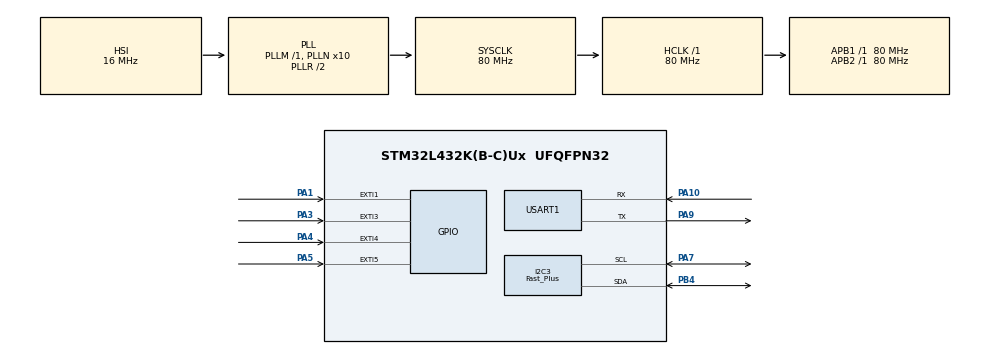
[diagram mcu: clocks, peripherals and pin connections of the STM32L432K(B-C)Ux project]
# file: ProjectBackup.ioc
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I2C3.I2C_Speed_Mode=I2C_Fast_Plus
I2C3.Timing=0x00B10E24
Mcu.Family=STM32L4
Mcu.Name=STM32L432K(B-C)Ux
Mcu.Package=UFQFPN32
NVIC.EXTI1_IRQn=true\:1\:0\:true\:false\:true\:true\:true\:true
NVIC.EXTI3_IRQn=true\:1\:0\:true\:false\:true\:true\:true\:true
NVIC.EXTI4_IRQn=true\:1\:0\:true\:false\:true\:true\:true\:true
NVIC.EXTI9_5_IRQn=true\:1\:0\:true\:false\:true\:true\:true\:true
NVIC.I2C3_ER_IRQn=true\:0\:0\:false\:false\:true\:true\:true\:true
NVIC.I2C3_EV_IRQn=true\:0\:0\:false\:false\:true\:true\:true\:true
NVIC.PriorityGroup=NVIC_PRIORITYGROUP_4
NVIC.RCC_IRQn=true\:0\:0\:false\:false\:true\:true\:false\:true
NVIC.RTC_Alarm_IRQn=true\:0\:0\:true\:false\:true\:true\:true\:true
NVIC.USART1_IRQn=true\:0\:0\:false\:false\:true\:true\:true\:true
PA0.Mode=HSE-External-Clock-Source-for-LittleOrca
PA0.Signal=RCC_CK_IN
PA1.GPIO_PuPd=GPIO_PULLDOWN
PA1.Signal=GPXTI1
PA10.Mode=Asynchronous
PA10.Signal=USART1_RX
PA13\ (JTMS-SWDIO).Mode=Serial_Wire
PA13\ (JTMS-SWDIO).Signal=SYS_JTMS-SWDIO
PA14\ (JTCK-SWCLK).Mode=Serial_Wire
PA14\ (JTCK-SWCLK).Signal=SYS_JTCK-SWCLK
PA3.GPIO_PuPd=GPIO_PULLDOWN
PA3.Signal=GPXTI3
PA4.GPIO_PuPd=GPIO_PULLDOWN
PA4.Signal=GPXTI4
PA5.GPIO_PuPd=GPIO_PULLDOWN
PA5.Signal=GPXTI5
PA7.Mode=I2C
PA7.Signal=I2C3_SCL
PA9.Mode=Asynchronous
PA9.Signal=USART1_TX
PB4\ (NJTRST).Mode=I2C
PB4\ (NJTRST).Signal=I2C3_SDA
PC14-OSC32_IN\ (PC14).Mode=LSE-External-Oscillator
PC14-OSC32_IN\ (PC14).Signal=RCC_OSC32_IN
PC15-OSC32_OUT\ (PC15).Mode=LSE-External-Oscillator
PC15-OSC32_OUT\ (PC15).Signal=RCC_OSC32_OUT
ProjectManager.HeapSize=0x800
ProjectManager.StackSize=0x800
ProjectManager.TargetToolchain=MDK-ARM V5.32
RCC.ADCFreq_Value=64000000
RCC.AHBFreq_Value=80000000
RCC.APB1Freq_Value=80000000
RCC.APB1TimFreq_Value=80000000
RCC.APB2Freq_Value=80000000
RCC.APB2TimFreq_Value=80000000
RCC.CortexFreq_Value=80000000
RCC.HCLKFreq_Value=80000000
RCC.HSE_VALUE=8000000
RCC.HSI48_VALUE=48000000
RCC.HSI_VALUE=16000000
RCC.MSI_VALUE=4000000
RCC.PLLN=10
RCC.PLLSourceVirtual=RCC_PLLSOURCE_HSI
RCC.RTCClockSelection=RCC_RTCCLKSOURCE_LSE
RCC.SYSCLKFreq_VALUE=80000000
RCC.SYSCLKSource=RCC_SYSCLKSOURCE_PLLCLK
RCC.USBFreq_Value=64000000
RCC.VCOOutputFreq_Value=160000000
RTC.Alarm=RTC_ALARM_A
RTC.AlarmMaskDateWeekDay=RTC_ALARMMASK_DATEWEEKDAY
RTC.AlarmMaskHours=RTC_ALARMMASK_HOURS
RTC.AlarmMaskMinutes=RTC_ALARMMASK_MINUTES
RTC.Format=RTC_FORMAT_BIN
RTC.Seconds_A=5
USART1.VirtualMode-Asynchronous=VM_ASYNC
VP_RTC_VS_RTC_Activate.Mode=RTC_Enabled
VP_RTC_VS_RTC_Alarm_A_Intern.Mode=Alarm A
VP_RTC_VS_RTC_Calendar.Mode=RTC_Calendar
board=custom

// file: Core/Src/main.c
/* USER CODE BEGIN Header */
/**
  ******************************************************************************
  * @file           : main.c
  * @brief          : Main program body
  ******************************************************************************
  * @attention
  *
  * Copyright (c) 2025 STMicroelectronics.
  * All rights reserved.
  *
  * This software is licensed under terms that can be found in the LICENSE file
  * in the root directory of this software component.
  * If no LICENSE file comes with this software, it is provided AS-IS.
  *
  ******************************************************************************
  */
/* USER CODE END Header */
#include "main.h"
#include "i2c.h"
#include "rtc.h"
#include "usart.h"
#include "gpio.h"

/* USER CODE BEGIN Includes */
#include "astra_ui_core.h"
#include "astra_ui_draw_driver.h"
#include "astra_ui_item.h"
#include "UserItem.h"
#include "stdbool.h"
#include <string.h>
/* USER CODE END Includes */

/* USER CODE BEGIN PV */
uint8_t u8x8_byte_hw_i2c(u8x8_t *u8x8, uint8_t msg, uint8_t arg_int, void *arg_ptr);
uint8_t u8g2_gpio_and_delay_stm32(U8X8_UNUSED u8x8_t *u8x8, U8X8_UNUSED uint8_t msg, U8X8_UNUSED uint8_t arg_int, U8X8_UNUSED void *arg_ptr);
int16_t Hours=0;
int16_t Minutes=0;
int16_t Seconds=0;

char RxBuffer[2048]={0};
uint16_t Uart1_Rx_Cnt=0;
uint8_t aRxBuffer=0;
char my_order[15]={0};
char receive_flag=0;

bool Hour_Setting_Flag=false;
bool Minute_Setting_Flag=false;
bool Second_Setting_Flag=false;

char week1[20]={0};
char date1[20]={0};
char month1[20]={0};
char year1[20]={0};
/* USER CODE END PV */

void SystemClock_Config(void);

int main(void)
{

  /* MCU Configuration--------------------------------------------------------*/

  /* Reset of all peripherals, Initializes the Flash interface and the Systick. */
  HAL_Init();

  /* Configure the system clock */
  SystemClock_Config();

  /* Initialize all configured peripherals */
  MX_GPIO_Init();
  MX_RTC_Init();
  MX_USART1_UART_Init();
  MX_I2C3_Init();
  /* USER CODE BEGIN 2 */
  HAL_UART_Receive_IT(&huart1, (uint8_t *)&aRxBuffer, 1);
  astra_ui_driver_init();
  astra_init_core();
  HAL_Delay(1000);
// ����������б���
astra_list_item_t *item1 = astra_new_list_item("Setting");
astra_list_item_t *item1_1 = astra_new_slider_item("Hours", &Hours, 1, 0, 23);
astra_list_item_t *item1_2 = astra_new_slider_item("Minutes", &Minutes, 1, 0, 59);
astra_list_item_t *item1_3 = astra_new_slider_item("Seconds", &Seconds, 1, 0, 59);
//astra_list_item_t *item1_1 =astra_new_list_item("BeiJing");
//astra_list_item_t *item1_2 = astra_new_list_item("Paris");
//astra_list_item_t *item1_3 =astra_new_list_item("New York");
//HAL_Delay(1000);
astra_list_item_t *item2 = astra_new_list_item("Clock System");
astra_list_item_t *item2_1 = astra_new_list_item("24");
astra_list_item_t *item2_2 =  astra_new_list_item("12");
//astra_list_item_t *item2_3 =  astra_new_list_item("24");
astra_list_item_t *item3 = astra_new_list_item("Count Down");
astra_list_item_t *item3_1 = astra_new_user_item("1 mins",UserItem_Init_2,UserItem_Loop_2,UserItem_Exit_2);
astra_list_item_t *item3_2 = astra_new_user_item("2 mins",UserItem_Init_3,UserItem_Loop_3,UserItem_Exit_3);
astra_list_item_t *item3_3 = astra_new_user_item("5 mins",UserItem_Init_4,UserItem_Loop_4,UserItem_Exit_4);
astra_list_item_t *item3_4 = astra_new_user_item("10 mins",UserItem_Init_5,UserItem_Loop_5,UserItem_Exit_5);
astra_list_item_t *item4 = astra_new_user_item("Clock",UserItem_Init_1,UserItem_Loop_1,UserItem_Exit_1);
astra_list_item_t *item5 = astra_new_user_item("Time Check",UserItem_Init_6,UserItem_Loop_6,UserItem_Exit_6);
astra_list_item_t *item6 = astra_new_user_item("Date",UserItem_Init_7,UserItem_Loop_7,UserItem_Exit_7);
//astra_list_item_t *item2 = astra_new_switch_item("Switch", &switch_value);
astra_push_item_to_list(astra_get_root_list(), item1);
astra_push_item_to_list(item1, item1_1);
astra_push_item_to_list(item1, item1_2);
astra_push_item_to_list(item1, item1_3);
astra_push_item_to_list(astra_get_root_list(), item2);

astra_push_item_to_list(item2, item2_1);
astra_push_item_to_list(item2, item2_2);
astra_push_item_to_list(astra_get_root_list(), item3);
astra_push_item_to_list(item3, item3_1);
astra_push_item_to_list(item3, item3_2);
astra_push_item_to_list(item3, item3_3);
astra_push_item_to_list(item3, item3_4);
astra_push_item_to_list(astra_get_root_list(), item5);
astra_push_item_to_list(astra_get_root_list(), item4);
astra_push_item_to_list(astra_get_root_list(), item6);

  /* USER CODE END 2 */

  /* Infinite loop */
  /* USER CODE BEGIN WHILE */
  while (1)
  {
	  oled_clear_buffer();
	  //in_astra();
		astra_ui_main_core();
		astra_ui_widget_core();
	  oled_send_buffer();
    /* USER CODE END WHILE */

  }
}

void SystemClock_Config(void)
{
  RCC_OscInitTypeDef RCC_OscInitStruct = {0};
  RCC_ClkInitTypeDef RCC_ClkInitStruct = {0};

  /** Configure the main internal regulator output voltage
  */
  if (HAL_PWREx_ControlVoltageScaling(PWR_REGULATOR_VOLTAGE_SCALE1) != HAL_OK)
  {
    Error_Handler();
  }

  /** Configure LSE Drive Capability
  */
  HAL_PWR_EnableBkUpAccess();
  __HAL_RCC_LSEDRIVE_CONFIG(RCC_LSEDRIVE_LOW);

  /** Initializes the RCC Oscillators according to the specified parameters
  * in the RCC_OscInitTypeDef structure.
  */
  RCC_OscInitStruct.OscillatorType = RCC_OSCILLATORTYPE_HSI|RCC_OSCILLATORTYPE_LSE;
  RCC_OscInitStruct.LSEState = RCC_LSE_ON;
  RCC_OscInitStruct.HSIState = RCC_HSI_ON;
  RCC_OscInitStruct.HSICalibrationValue = RCC_HSICALIBRATION_DEFAULT;
  RCC_OscInitStruct.PLL.PLLState = RCC_PLL_ON;
  RCC_OscInitStruct.PLL.PLLSource = RCC_PLLSOURCE_HSI;
  RCC_OscInitStruct.PLL.PLLM = 1;
  RCC_OscInitStruct.PLL.PLLN = 10;
  RCC_OscInitStruct.PLL.PLLP = RCC_PLLP_DIV7;
  RCC_OscInitStruct.PLL.PLLQ = RCC_PLLQ_DIV2;
  RCC_OscInitStruct.PLL.PLLR = RCC_PLLR_DIV2;
  if (HAL_RCC_OscConfig(&RCC_OscInitStruct) != HAL_OK)
  {
    Error_Handler();
  }

  /** Initializes the CPU, AHB and APB buses clocks
  */
  RCC_ClkInitStruct.ClockType = RCC_CLOCKTYPE_HCLK|RCC_CLOCKTYPE_SYSCLK
                              |RCC_CLOCKTYPE_PCLK1|RCC_CLOCKTYPE_PCLK2;
  RCC_ClkInitStruct.SYSCLKSource = RCC_SYSCLKSOURCE_PLLCLK;
  RCC_ClkInitStruct.AHBCLKDivider = RCC_SYSCLK_DIV1;
  RCC_ClkInitStruct.APB1CLKDivider = RCC_HCLK_DIV1;
  RCC_ClkInitStruct.APB2CLKDivider = RCC_HCLK_DIV1;

  if (HAL_RCC_ClockConfig(&RCC_ClkInitStruct, FLASH_LATENCY_4) != HAL_OK)
  {
    Error_Handler();
  }
}

/* USER CODE BEGIN 4 */
void HAL_UART_RxCpltCallback(UART_HandleTypeDef *huart)
{
  /* Prevent unused argument(s) compilation warning */
  UNUSED(huart);
  /* NOTE: This function Should not be modified, when the callback is needed,
           the HAL_UART_TxCpltCallback could be implemented in the user file
   */
 if (huart->Instance == USART1)
 {
	if(Uart1_Rx_Cnt >= 2043)  //溢出判断
	{
		Uart1_Rx_Cnt = 0;
		memset(RxBuffer,0x00,sizeof(RxBuffer));
	}
	else
	{
		static uint8_t Uart1_count=0;

		RxBuffer[Uart1_Rx_Cnt] = aRxBuffer;   //接收数据转存
		if(receive_flag==0)
		{
			if(RxBuffer[Uart1_Rx_Cnt-Uart1_count]=='<')
			{
				Uart1_count++;
				if((RxBuffer[Uart1_Rx_Cnt]=='>')||Uart1_count>=14)
				{
					uint8_t My_i=0;
					for(int i=Uart1_Rx_Cnt-Uart1_count+1;i<Uart1_Rx_Cnt+1;i++)
						my_order[My_i++]=RxBuffer[i];
					receive_flag=1;
					Uart1_count=0;
				}
			}
		}
		Uart1_Rx_Cnt++;
	}
 }

HAL_UART_Receive_IT(&huart1, (uint8_t *)&aRxBuffer, 1) ;
}
/* USER CODE END 4 */

void Error_Handler(void)
{
  __disable_irq();
  while (1)
  {
  }
}
